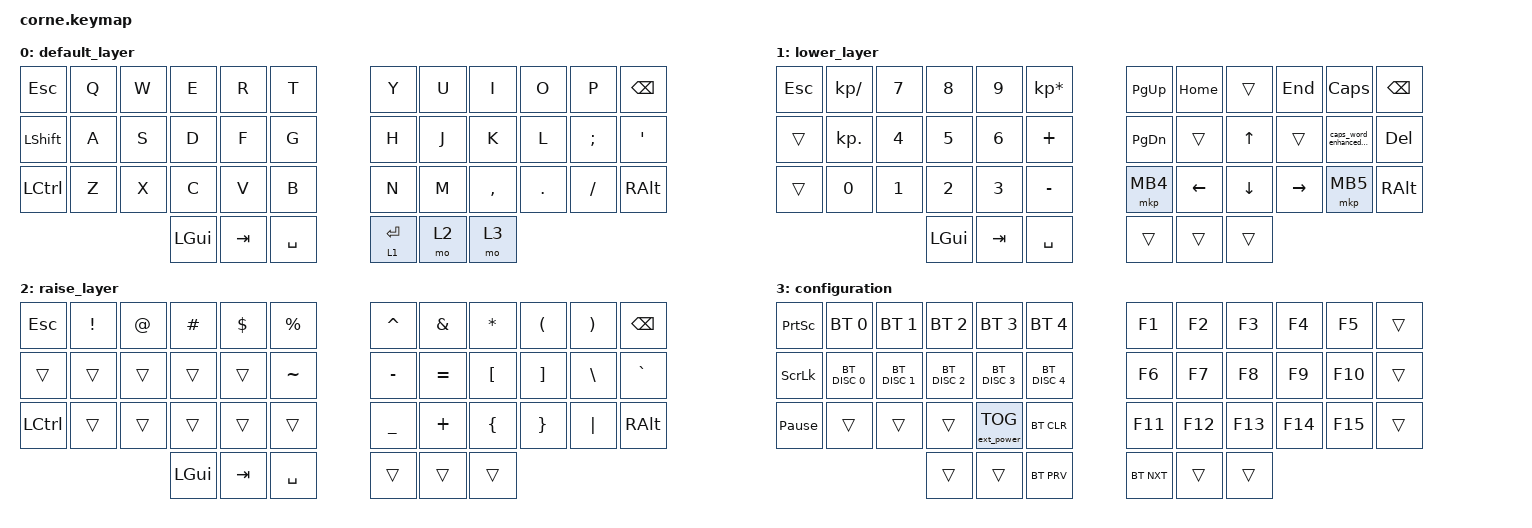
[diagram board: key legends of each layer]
/*
 * Copyright (c) 2020 The ZMK Contributors
 *
 * SPDX-License-Identifier: MIT
 */

#include <behaviors.dtsi>
#include <dt-bindings/zmk/bt.h>
#include <dt-bindings/zmk/ext_power.h>
#include <dt-bindings/zmk/keys.h>
#include <dt-bindings/zmk/mouse.h>

/ {
    behaviors {
        caps_word_enhanced_behavior: caps_word_enhanced_behavior {
            compatible = "zmk,behavior-caps-word";
            label = "CAPS_WORD_ENHANCED_BEHAVIOR";
            #binding-cells = <0>;
            continue-list = <UNDERSCORE MINUS>;
        };
    };

    combos {
        compatible = "zmk,combos";

        lparen {
            bindings = <&kp LEFT_PARENTHESIS>;
            key-positions = <7 19>;
        };

        rparen {
            bindings = <&kp RPAR>;
            key-positions = <8 20>;
        };

        lbrac {
            bindings = <&kp LEFT_BRACKET>;
            key-positions = <19 31>;
        };

        rbrac {
            bindings = <&kp RIGHT_BRACKET>;
            key-positions = <20 32>;
        };
    };

    keymap {
        compatible = "zmk,keymap";

        default_layer {
            // -----------------------------------------------------------------------------------------
            // |  TAB |  Q  |  W  |  E  |  R  |  T  |   |  Y  |  U   |  I  |  O  |  P  | BSPC |
            // | CTRL |  A  |  S  |  D  |  F  |  G  |   |  H  |  J   |  K  |  L  |  ;  |  '   |
            // | SHFT |  Z  |  X  |  C  |  V  |  B  |   |  N  |  M   |  ,  |  .  |  /  | ESC  |
            //                    | GUI | LWR | SPC |   | ENT | RSE  | ALT |

            bindings = <
&kp ESC           &kp Q  &kp W  &kp E     &kp R    &kp T        &kp Y        &kp U  &kp I      &kp O    &kp P     &kp BSPC
&kp LEFT_SHIFT    &kp A  &kp S  &kp D     &kp F    &kp G        &kp H        &kp J  &kp K      &kp L    &kp SEMI  &kp SQT
&kp LEFT_CONTROL  &kp Z  &kp X  &kp C     &kp V    &kp B        &kp N        &kp M  &kp COMMA  &kp DOT  &kp FSLH  &kp RIGHT_ALT
                                &kp LGUI  &kp TAB  &kp SPACE    &lt 1 ENTER  &mo 2  &mo 3
            >;
        };

        lower_layer {
            // -----------------------------------------------------------------------------------------
            // |  TAB |  1  |  2  |  3  |  4  |  5  |   |  6  |  7  |  8  |  9  |  0  | BSPC |
            // | BTCLR| BT1 | BT2 | BT3 | BT4 | BT5 |   | LFT | DWN |  UP | RGT |     |      |
            // | SHFT |     |     |     |     |     |   |     |     |     |     |     |      |
            //                    | GUI |     | SPC |   | ENT |     | ALT |

            bindings = <
&kp ESCAPE  &kp KP_DIVIDE  &kp N7        &kp N8        &kp N9        &kp KP_MULTIPLY    &kp PAGE_UP    &kp HOME  &trans          &kp END    &kp CAPSLOCK                  &kp BACKSPACE
&trans      &kp KP_DOT     &kp NUMBER_4  &kp N5        &kp NUMBER_6  &kp PLUS           &kp PAGE_DOWN  &trans    &kp UP          &trans     &caps_word_enhanced_behavior  &kp DEL
&trans      &kp N0         &kp NUMBER_1  &kp NUMBER_2  &kp NUMBER_3  &kp MINUS          &mkp MB4       &kp LEFT  &kp DOWN_ARROW  &kp RIGHT  &mkp MB5                      &kp RIGHT_ALT
                                         &kp LGUI      &kp TAB       &kp SPACE          &trans         &trans    &trans
            >;
        };

        raise_layer {
            // -----------------------------------------------------------------------------------------
            // |  TAB |  !  |  @  |  #  |  $  |  %  |   |  ^  |  &  |  *  |  (  |  )  | BSPC |
            // | CTRL |     |     |     |     |     |   |  -  |  =  |  [  |  ]  |  \  |  `   |
            // | SHFT |     |     |     |     |     |   |  _  |  +  |  {  |  }  | "|" |  ~   |
            //                    | GUI |     | SPC |   | ENT |     | ALT |

            bindings = <
&kp ESCAPE        &kp EXCL  &kp AT  &kp HASH  &kp DLLR  &kp PRCNT    &kp CARET  &kp AMPS   &kp ASTRK  &kp LPAR  &kp RPAR  &kp BACKSPACE
&trans            &trans    &trans  &trans    &trans    &kp TILDE    &kp MINUS  &kp EQUAL  &kp LBKT   &kp RBKT  &kp BSLH  &kp GRAVE
&kp LEFT_CONTROL  &trans    &trans  &trans    &trans    &trans       &kp UNDER  &kp PLUS   &kp LBRC   &kp RBRC  &kp PIPE  &kp RIGHT_ALT
                                    &kp LGUI  &kp TAB   &kp SPACE    &trans     &trans     &trans
            >;
        };

        configuration {
            bindings = <
&kp PRINTSCREEN  &bt BT_SEL 0   &bt BT_SEL 1   &bt BT_SEL 2   &bt BT_SEL 3       &bt BT_SEL 4     &kp F1      &kp F2   &kp F3   &kp F4   &kp F5   &trans
&kp SCROLLLOCK   &bt BT_DISC 0  &bt BT_DISC 1  &bt BT_DISC 2  &bt BT_DISC 3      &bt BT_DISC 4    &kp F6      &kp F7   &kp F8   &kp F9   &kp F10  &trans
&kp PAUSE_BREAK  &trans         &trans         &trans         &ext_power EP_TOG  &bt BT_CLR       &kp F11     &kp F12  &kp F13  &kp F14  &kp F15  &trans
                                               &trans         &trans             &bt BT_PRV       &bt BT_NXT  &trans   &trans
            >;
        };
    };
};
